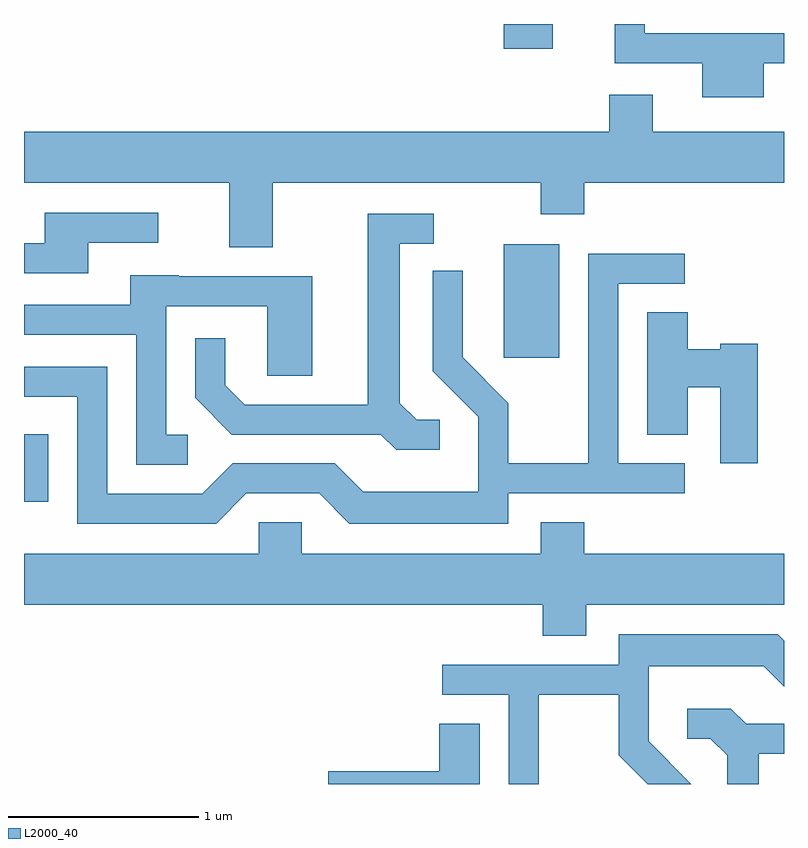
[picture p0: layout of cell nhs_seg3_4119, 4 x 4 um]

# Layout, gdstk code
import gdstk
lib = gdstk.Library(unit=1e-6, precision=1e-09)
def R(c, l, rs):  # rectangles x0, y0, x1, y1
    for r in rs: c.add(gdstk.rectangle(r[:2], r[2:], *l))
def P(c, l, *ps):  # polygons
    for p in ps: c.add(gdstk.Polygon(p, *l))
L2000_40 = (2000, 40)

nhs_seg3_4119 = lib.new_cell('nhs_seg3_4119')
R(nhs_seg3_4119, L2000_40, [(305.611,1195.378,305.739,1195.734), (308.136,1196.136,308.429,1196.734), (308.136,1197.761,308.394,1197.892)])
P(nhs_seg3_4119, L2000_40, [(309.504,1197.686),(309.611,1197.686),(309.611,1197.844),(308.879,1197.844),(308.879,1197.892),(308.721,1197.892),(308.721,1197.686),(309.181,1197.686),(309.181,1197.506),(309.504,1197.506)],
  [(305.611,1197.056),(306.691,1197.056),(306.691,1196.716),(306.919,1196.716),(306.919,1197.056),(308.331,1197.056),(308.331,1196.891),(308.559,1196.891),(308.559,1197.056),(309.611,1197.056),(309.611,1197.324),(308.919,1197.324),(308.919,1197.519),(308.691,1197.519),(308.691,1197.324),(305.611,1197.324)],
  [(305.949,1196.741),(306.318,1196.741),(306.318,1196.899),(305.721,1196.899),(305.721,1196.739),(305.611,1196.739),(305.611,1196.581),(305.949,1196.581)],
  [(307.798,1195.809),(307.677,1195.809),(307.589,1195.897),(307.589,1196.736),(307.768,1196.736),(307.768,1196.894),(307.421,1196.894),(307.421,1195.889),(306.772,1195.889),(306.669,1195.992),(306.669,1196.238),(306.511,1196.238),(306.511,1195.924),(306.704,1195.731),(307.489,1195.731),(307.569,1195.651),(307.798,1195.651)],
  [(306.782,1195.421),(307.164,1195.421),(307.324,1195.261),(308.159,1195.261),(308.159,1195.421),(309.088,1195.421),(309.088,1195.579),(308.739,1195.579),(308.739,1196.526),(309.088,1196.526),(309.088,1196.684),(308.581,1196.684),(308.581,1195.579),(308.159,1195.579),(308.159,1195.897),(307.919,1196.137),(307.919,1196.593),(307.761,1196.593),(307.761,1196.064),(308.001,1195.824),(308.001,1195.429),(307.397,1195.429),(307.247,1195.579),(306.709,1195.579),(306.549,1195.419),(306.049,1195.419),(306.049,1196.089),(305.611,1196.089),(305.611,1195.931),(305.891,1195.931),(305.891,1195.261),(306.622,1195.261)],
  [(306.473,1195.729),(306.359,1195.729),(306.359,1196.406),(306.891,1196.406),(306.891,1196.041),(307.129,1196.041),(307.129,1196.564),(306.425,1196.564),(306.425,1196.569),(306.171,1196.569),(306.171,1196.414),(305.611,1196.414),(305.611,1196.256),(306.201,1196.256),(306.201,1195.571),(306.473,1195.571)],
  [(309.474,1196.209),(309.276,1196.209),(309.276,1196.179),(309.104,1196.179),(309.104,1196.374),(308.891,1196.374),(308.891,1195.731),(309.104,1195.731),(309.104,1195.981),(309.276,1195.981),(309.276,1195.581),(309.474,1195.581)],
  [(308.569,1194.836),(309.611,1194.836),(309.611,1195.104),(308.559,1195.104),(308.559,1195.269),(308.331,1195.269),(308.331,1195.104),(307.074,1195.104),(307.074,1195.269),(306.846,1195.269),(306.846,1195.104),(305.611,1195.104),(305.611,1194.836),(308.341,1194.836),(308.341,1194.671),(308.569,1194.671)],
  [(308.319,1194.361),(308.741,1194.361),(308.741,1194.044),(308.893,1193.892),(309.124,1193.892),(308.899,1194.117),(308.899,1194.511),(309.504,1194.511),(309.611,1194.404),(309.611,1194.645),(309.577,1194.679),(308.741,1194.679),(308.741,1194.519),(307.813,1194.519),(307.813,1194.361),(308.161,1194.361),(308.161,1193.892),(308.319,1193.892)],
  [(309.479,1194.051),(309.611,1194.051),(309.611,1194.209),(309.412,1194.209),(309.332,1194.289),(309.103,1194.289),(309.103,1194.131),(309.224,1194.131),(309.311,1194.044),(309.311,1193.892),(309.479,1193.892)],
  [(308.009,1194.209),(307.796,1194.209),(307.796,1193.959),(307.211,1193.959),(307.211,1193.892),(308.009,1193.892)])

lib.write_gds('nhs_seg3_4119.gds')
